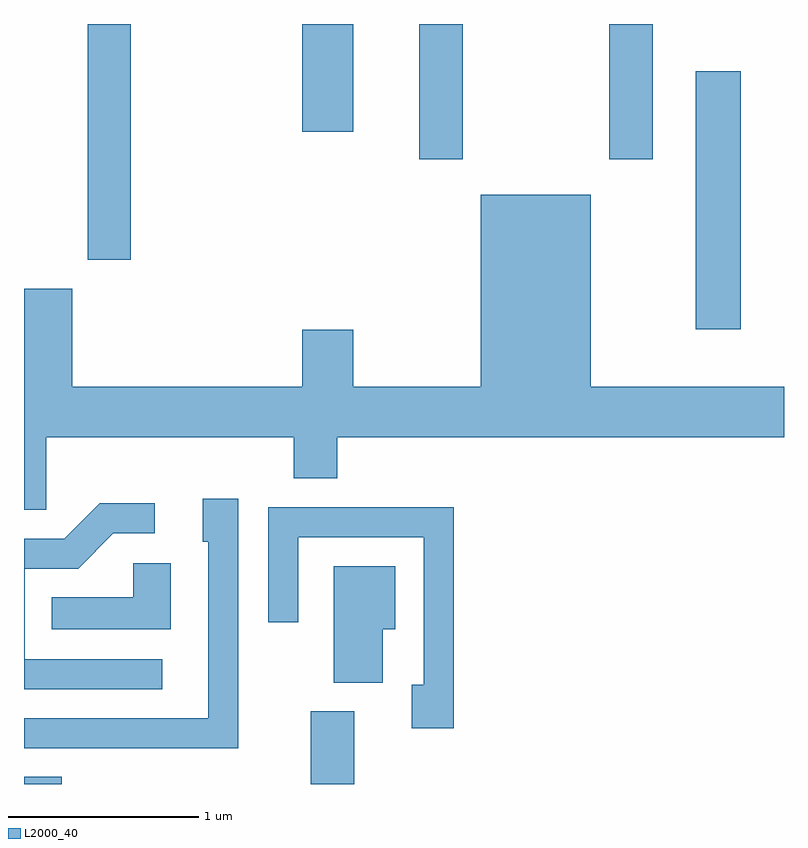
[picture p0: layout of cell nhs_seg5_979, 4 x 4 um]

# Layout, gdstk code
import gdstk
lib = gdstk.Library(unit=1e-6, precision=1e-09)
def R(c, l, rs):  # rectangles x0, y0, x1, y1
    for r in rs: c.add(gdstk.rectangle(r[:2], r[2:], *l))
def P(c, l, *ps):  # polygons
    for p in ps: c.add(gdstk.Polygon(p, *l))
L2000_40 = (2000, 40)

nhs_seg5_979 = lib.new_cell('nhs_seg5_979')
R(nhs_seg5_979, L2000_40, [(213.611,1466.072,213.809,1466.109), (215.121,1466.072,215.349,1466.454), (217.146,1468.466,217.384,1469.824), (213.946,1468.831,214.174,1470.072), (215.691,1469.361,215.919,1470.072), (216.691,1469.361,216.919,1470.072), (215.076,1469.506,215.344,1470.072)])
P(nhs_seg5_979, L2000_40, [(213.729,1467.896),(215.031,1467.896),(215.031,1467.681),(215.259,1467.681),(215.259,1467.896),(217.611,1467.896),(217.611,1468.164),(216.594,1468.164),(216.594,1469.174),(216.016,1469.174),(216.016,1468.164),(215.344,1468.164),(215.344,1468.464),(215.076,1468.464),(215.076,1468.164),(213.864,1468.164),(213.864,1468.679),(213.611,1468.679),(213.611,1467.516),(213.729,1467.516)],
  [(214.739,1467.574),(214.551,1467.574),(214.551,1467.346),(214.581,1467.346),(214.581,1466.419),(213.611,1466.419),(213.611,1466.261),(214.739,1466.261)],
  [(214.338,1466.729),(213.614,1466.729),(213.614,1467.206),(213.897,1467.206),(214.082,1467.391),(214.298,1467.391),(214.298,1467.549),(214.009,1467.549),(213.824,1467.364),(213.611,1467.364),(213.611,1466.571),(214.338,1466.571)],
  [(215.874,1467.529),(214.896,1467.529),(214.896,1466.923),(215.054,1466.923),(215.054,1467.371),(215.716,1467.371),(215.716,1466.594),(215.651,1466.594),(215.651,1466.366),(215.874,1466.366)],
  [(214.384,1467.234),(214.186,1467.234),(214.186,1467.054),(213.758,1467.054),(213.758,1466.886),(214.384,1466.886)],
  [(215.499,1466.886),(215.564,1466.886),(215.564,1467.219),(215.241,1467.219),(215.241,1466.606),(215.499,1466.606)])

lib.write_gds('nhs_seg5_979.gds')
